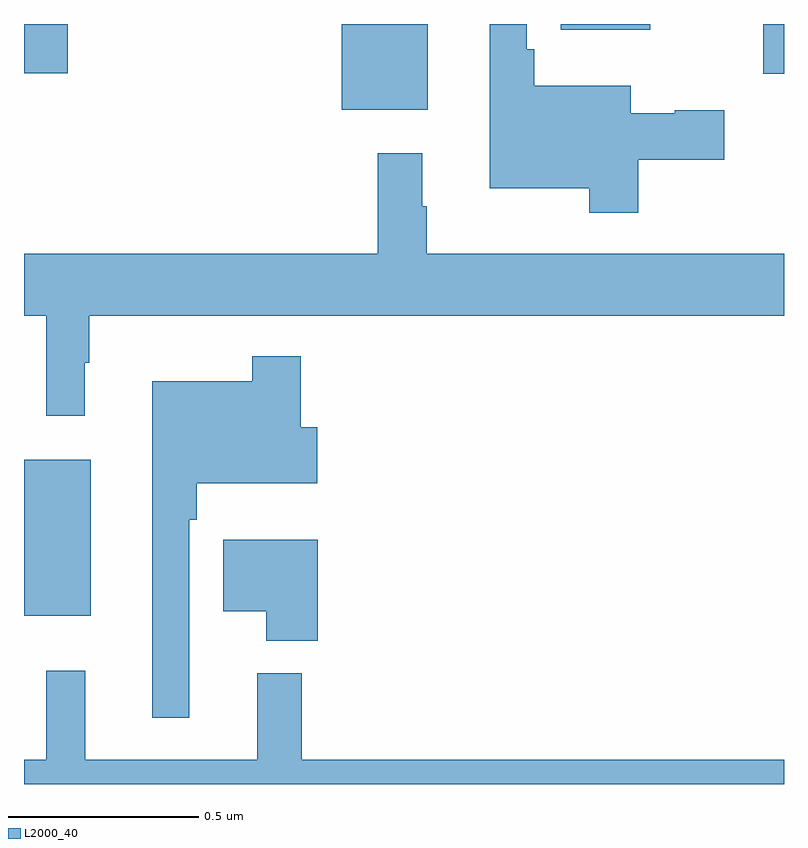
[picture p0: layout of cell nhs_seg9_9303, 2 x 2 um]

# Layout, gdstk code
import gdstk
lib = gdstk.Library(unit=1e-6, precision=1e-09)
def R(c, l, rs):  # rectangles x0, y0, x1, y1
    for r in rs: c.add(gdstk.rectangle(r[:2], r[2:], *l))
def P(c, l, *ps):  # polygons
    for p in ps: c.add(gdstk.Polygon(p, *l))
L2000_40 = (2000, 40)

nhs_seg9_9303 = lib.new_cell('nhs_seg9_9303')
R(nhs_seg9_9303, L2000_40, [(228,1216.943,228.175,1217.353), (228.836,1218.275,229.063,1218.5), (229.946,1218.369,230,1218.5), (228,1218.37,228.115,1218.5), (229.412,1218.485,229.648,1218.5)])
P(nhs_seg9_9303, L2000_40, [(229.616,1218.143),(229.843,1218.143),(229.843,1218.273),(229.712,1218.273),(229.712,1218.265),(229.597,1218.265),(229.597,1218.337),(229.343,1218.337),(229.343,1218.433),(229.323,1218.433),(229.323,1218.5),(229.226,1218.5),(229.226,1218.068),(229.488,1218.068),(229.488,1218.003),(229.616,1218.003)],
  [(228.16,1217.609),(228.172,1217.609),(228.172,1217.732),(230,1217.732),(230,1217.896),(229.06,1217.896),(229.06,1218.02),(229.048,1218.02),(229.048,1218.16),(228.931,1218.16),(228.931,1217.896),(228,1217.896),(228,1217.732),(228.058,1217.732),(228.058,1217.469),(228.16,1217.469)],
  [(228.435,1217.195),(228.455,1217.195),(228.455,1217.291),(228.772,1217.291),(228.772,1217.439),(228.728,1217.439),(228.728,1217.626),(228.6,1217.626),(228.6,1217.56),(228.338,1217.56),(228.338,1216.674),(228.435,1216.674)],
  [(228.773,1217.143),(228.524,1217.143),(228.524,1216.955),(228.638,1216.955),(228.638,1216.877),(228.773,1216.877)],
  [(230,1216.564),(228.731,1216.564),(228.731,1216.792),(228.614,1216.792),(228.614,1216.564),(228.161,1216.564),(228.161,1216.798),(228.058,1216.798),(228.058,1216.564),(228,1216.564),(228,1216.5),(230,1216.5)])

lib.write_gds('nhs_seg9_9303.gds')
